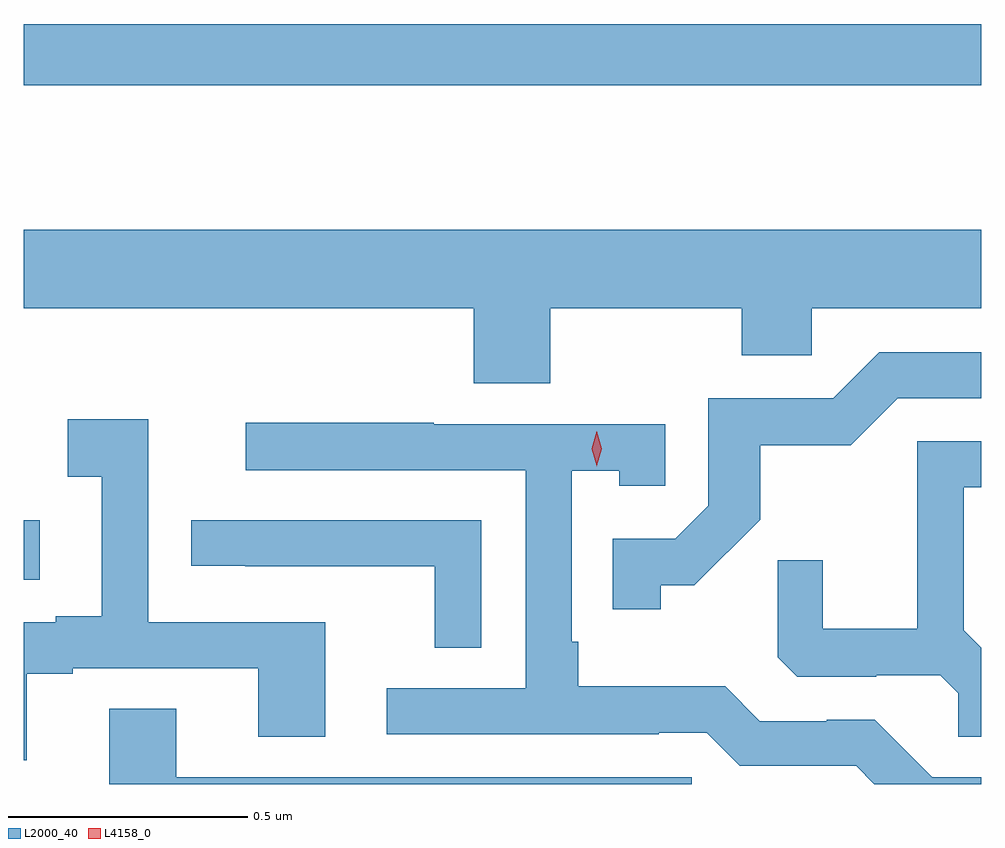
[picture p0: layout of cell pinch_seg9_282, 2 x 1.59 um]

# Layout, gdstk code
import gdstk
lib = gdstk.Library(unit=1e-6, precision=1e-09)
def R(c, l, rs):  # rectangles x0, y0, x1, y1
    for r in rs: c.add(gdstk.rectangle(r[:2], r[2:], *l))
def P(c, l, *ps):  # polygons
    for p in ps: c.add(gdstk.Polygon(p, *l))
L2000_40 = (2000, 40)
L4158_0 = (4158, 0)

pinch_seg9_282 = lib.new_cell('pinch_seg9_282')
R(pinch_seg9_282, L2000_40, [(395.629,1165.217,395.662,1165.341), (395.629,1166.25,397.629,1166.378)])
P(pinch_seg9_282, L2000_40, [(396.729,1165.784),(397.129,1165.784),(397.129,1165.686),(397.275,1165.686),(397.275,1165.784),(397.629,1165.784),(397.629,1165.948),(395.629,1165.948),(395.629,1165.784),(396.569,1165.784),(396.569,1165.627),(396.729,1165.627)],
  [(396.96,1165.205),(397.03,1165.205),(397.168,1165.342),(397.168,1165.498),(397.357,1165.498),(397.455,1165.596),(397.629,1165.596),(397.629,1165.692),(397.416,1165.692),(397.32,1165.596),(397.059,1165.596),(397.059,1165.371),(396.99,1165.302),(396.859,1165.302),(396.859,1165.155),(396.96,1165.155)],
  [(395.635,1165.02),(395.731,1165.02),(395.731,1165.032),(396.119,1165.032),(396.119,1164.889),(396.259,1164.889),(396.259,1165.128),(395.889,1165.128),(395.889,1165.552),(395.721,1165.552),(395.721,1165.432),(395.792,1165.432),(395.792,1165.141),(395.696,1165.141),(395.696,1165.128),(395.629,1165.128),(395.629,1164.84),(395.635,1164.84)],
  [(397.629,1164.804),(397.527,1164.804),(397.407,1164.924),(397.306,1164.924),(397.306,1164.921),(397.167,1164.921),(397.094,1164.994),(396.787,1164.994),(396.787,1165.087),(396.774,1165.087),(396.774,1165.445),(396.873,1165.445),(396.873,1165.413),(396.969,1165.413),(396.969,1165.542),(396.485,1165.542),(396.485,1165.545),(396.093,1165.545),(396.093,1165.446),(396.678,1165.446),(396.678,1164.99),(396.387,1164.99),(396.387,1164.894),(396.956,1164.894),(396.956,1164.897),(397.056,1164.897),(397.125,1164.828),(397.368,1164.828),(397.406,1164.79),(397.629,1164.79)],
  [(397.629,1165.075),(397.593,1165.111),(397.593,1165.41),(397.629,1165.41),(397.629,1165.506),(397.496,1165.506),(397.496,1165.114),(397.298,1165.114),(397.298,1165.257),(397.204,1165.257),(397.204,1165.055),(397.245,1165.014),(397.41,1165.014),(397.41,1165.017),(397.544,1165.017),(397.581,1164.98),(397.581,1164.889),(397.629,1164.889)],
  [(396.585,1165.341),(395.979,1165.341),(395.979,1165.246),(396.091,1165.246),(396.091,1165.245),(396.487,1165.245),(396.487,1165.075),(396.585,1165.075)],
  [(397.024,1164.804),(395.947,1164.804),(395.947,1164.947),(395.807,1164.947),(395.807,1164.79),(397.024,1164.79)])
P(pinch_seg9_282, L4158_0, [(396.826,1165.454),(396.826,1165.455),(396.816,1165.491),(396.826,1165.527),(396.826,1165.527),(396.826,1165.527),(396.836,1165.491),(396.826,1165.455)])

lib.write_gds('pinch_seg9_282.gds')
